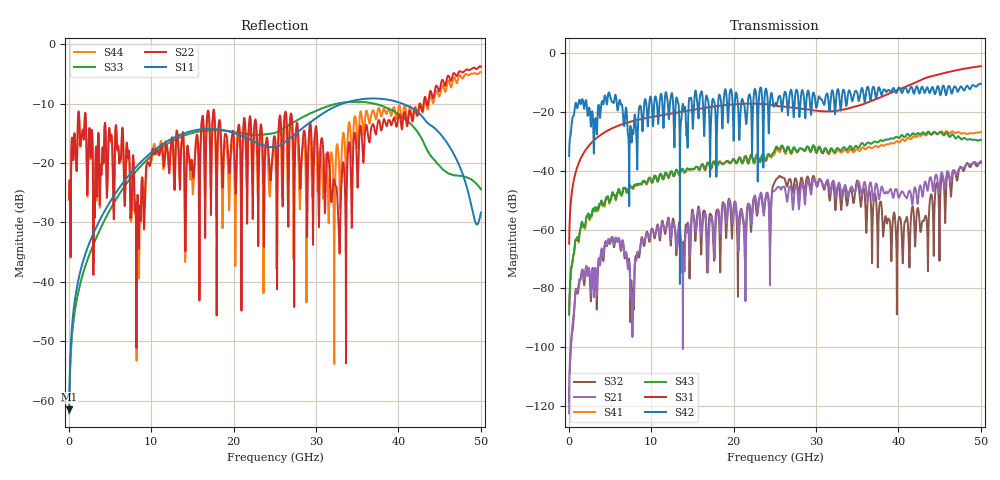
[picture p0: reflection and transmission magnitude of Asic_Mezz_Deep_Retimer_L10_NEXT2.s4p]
! Created Wed Jul  3 15:51:41 2019
# hz S ma R 50
! 4 Port Network Data from SP1.SP block
! freq  magS11  angS11  magS12  angS12  magS13  angS13  magS14  angS14
!  magS21  angS21  magS22  angS22  magS23  angS23  magS24  angS24
!  magS31  angS31  magS32  angS32  magS33  angS33  magS34  angS34
!  magS41  angS41  magS42  angS42  magS43  angS43  magS44  angS44
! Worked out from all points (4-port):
!   4996 points, 50 MHz to 50 GHz, reference 50 ohm
!   strongest paths, dB at 50 MHz, 12.54 GHz, 25.03 GHz, 37.52 GHz, 50 GHz:
!     S42: -35.0, -13.8, -17.5, -12.4, -10.6
!     S31: -64.8, -20.6, -18.0, -15.5, -4.6
!     S43: -88.6, -40.5, -32.8, -30.4, -29.6
!     S41: -89.0, -40.5, -34.0, -32.0, -26.9
!     S21: -122.4, -59.4, -46.7, -47.3, -36.8
!     S32: -118.3, -58.4, -43.7, -67.7, -37.4
!   lowest |S11| = -61.5 dB at 50 MHz (marker M1), VSWR 1.00, Z = 50.1 + j0.0632 ohm
!   |S11| at or under -10 dB: start of sweep to 33.25 GHz; 40.46 GHz to end of sweep
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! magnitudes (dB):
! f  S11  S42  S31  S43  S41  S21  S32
! 50 MHz  -61.5  -35.0  -64.8  -88.6  -89.0  -122.4  -118.3
! 2.73 GHz  -32.7  -23.8  -30.7  -55.3  -55.8  -79.8  -82.2
! 13.39 GHz  -15.3  -20.5  -20.2  -41.4  -41.4  -59.4  -57.6
! 25.68 GHz  -17.0  -15.2  -18.2  -32.2  -33.3  -46.2  -42.1
! 32.8 GHz  -10.2  -14.2  -19.6  -32.8  -33.3  -44.1  -45.6
! 40.55 GHz  -10.0  -13.1  -11.9  -28.3  -29.4  -47.3  -69.5
! 50 GHz  -28.4  -10.6  -4.6  -29.6  -26.9  -36.8  -37.4
